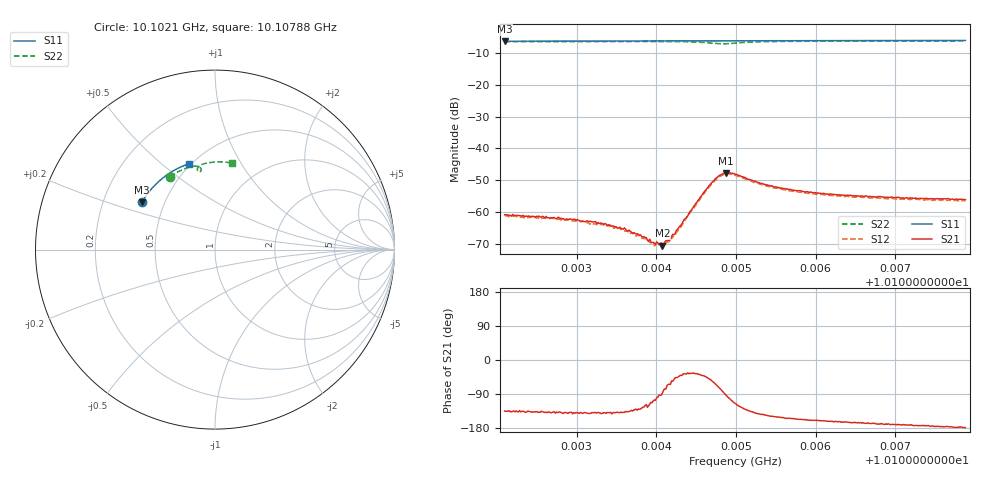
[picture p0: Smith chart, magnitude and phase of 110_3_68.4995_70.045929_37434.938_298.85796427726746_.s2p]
#  HZ  S  RI  R  50.00
! Rohde & Schwarz Vector Network Analyzer
! Rohde-Schwarz,ZNB20-2Port,1311601062101988,3.16
! Created: UTC 3/20/2024, 5:08:40 PM
! freq[Hz]  re:S11  im:S11  re:S21  im:S21  re:S12  im:S12  re:S22  im:S22
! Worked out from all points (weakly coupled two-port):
!   401 points, 10.1021 GHz to 10.10788 GHz, reference 50 ohm
!   highest |S21| = -47.71 dB at 10.10487 GHz (marker M1); lowest = -70.6 dB at 10.10408 GHz (marker M2)
!   lowest |S11| = -6.3 dB at 10.1021 GHz (marker M3), VSWR 2.88, Z = 18.6 + j12.8 ohm
!   |S11| at or under -10 dB: nowhere
!   |S22| runs from -7.1 to -6.2 dB; largest |S21 - S12| = 0.00043
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1.0102098e10  -0.4077 0.2629  -0.000639 -0.000641  -0.000555 -0.000659  -0.2506 0.4065
1.0102748e10  -0.3867 0.2964  -0.000577 -0.000526  -0.000543 -0.000555  -0.2144 0.4287
1.0103066e10  -0.3753 0.3121  -0.000541 -0.000455  -0.000514 -0.0005  -0.1957 0.4385
1.010321e10  -0.3699 0.319  -0.000532 -0.000454  -0.000468 -0.000447  -0.1869 0.4427
1.0103398e10  -0.3628 0.3281  -0.000471 -0.000408  -0.000443 -0.000443  -0.1753 0.4477
1.0103572e10  -0.356 0.3361  -0.000409 -0.000359  -0.000357 -0.000384  -0.1641 0.4521
1.0103832e10  -0.3456 0.3478  -0.000229 -0.000332  -0.00018 -0.00034  -0.1468 0.4583
1.0103962e10  -0.3401 0.3538  -0.000101 -0.000316  -0.000113 -0.000325  -0.1376 0.4607
1.0104005e10  -0.3383 0.3555  -5.47e-05 -0.000334  -1.07e-05 -0.000295  -0.1343 0.4617
1.0104034e10  -0.3371 0.3569  -1.17e-05 -0.00031  -2.36e-05 -0.000306  -0.1324 0.4622
1.0104077e10  -0.3353 0.3588  1.23e-05 -0.000293  3.66e-05 -0.000291  -0.129 0.463
1.0104121e10  -0.3334 0.3607  8.05e-05 -0.000342  0.000131 -0.000292  -0.1258 0.4636
1.0104164e10  -0.3316 0.3624  0.000153 -0.000311  0.000171 -0.000321  -0.1223 0.4641
1.0104236e10  -0.3285 0.3654  0.000305 -0.000329  0.000315 -0.000321  -0.1163 0.465
1.0104684e10  -0.3084 0.3838  0.00169 -0.0022  0.00176 -0.00198  -0.0772 0.4484
1.0104771e10  -0.3046 0.3872  0.00128 -0.00331  0.00148 -0.00307  -0.0786 0.4378
1.0104872e10  -0.2999 0.3911  -0.000149 -0.00412  0.000235 -0.00393  -0.09 0.4335
1.0104988e10  -0.2946 0.3956  -0.00161 -0.00358  -0.00125 -0.00355  -0.0984 0.444
1.0105378e10  -0.2759 0.4103  -0.00221 -0.00151  -0.00199 -0.00164  -0.0763 0.4728
1.0105956e10  -0.247 0.4298  -0.00188 -0.000714  -0.00175 -0.000853  -0.0341 0.4844
1.0106924e10  -0.1956 0.4579  -0.00167 -0.000314  -0.00156 -0.000433  0.0307 0.4884
1.0107877e10  -0.1422 0.4793  -0.00156 -3.74e-05  -0.00148 -0.000196  0.0922 0.4831
